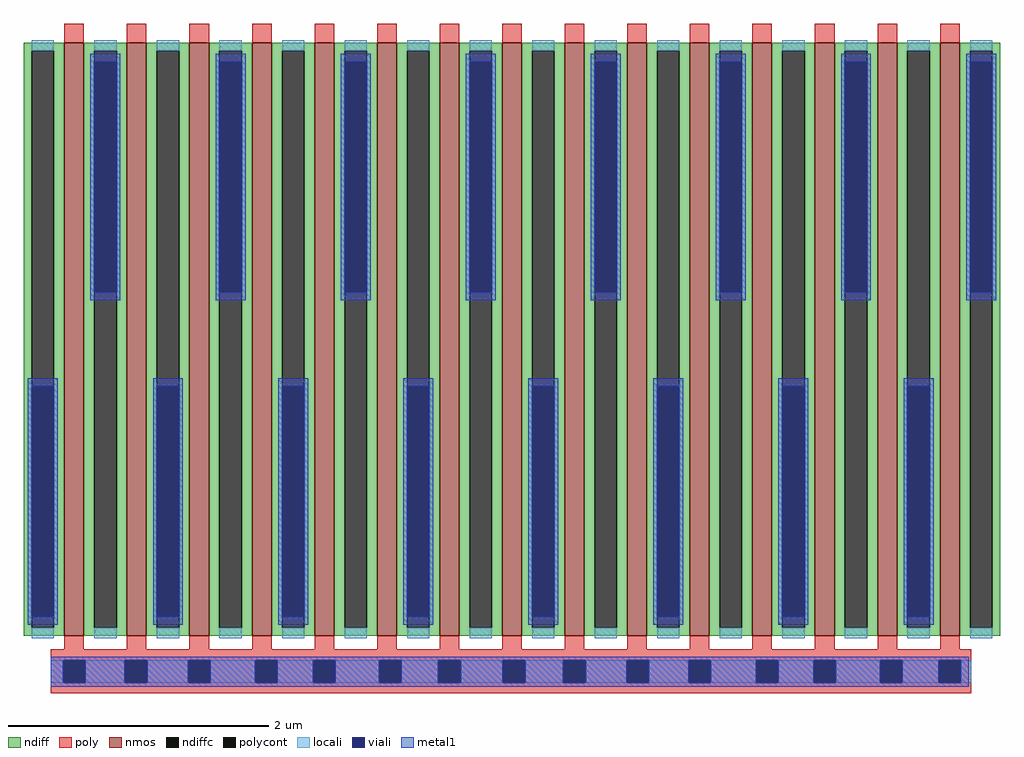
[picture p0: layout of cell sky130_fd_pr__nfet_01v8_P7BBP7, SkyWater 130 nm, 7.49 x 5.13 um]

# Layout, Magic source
magic
tech sky130A
magscale 1 2
<< nmos >>
rect -687 -455 -657 455
rect -591 -455 -561 455
rect -495 -455 -465 455
rect -399 -455 -369 455
rect -303 -455 -273 455
rect -207 -455 -177 455
rect -111 -455 -81 455
rect -15 -455 15 455
rect 81 -455 111 455
rect 177 -455 207 455
rect 273 -455 303 455
rect 369 -455 399 455
rect 465 -455 495 455
rect 561 -455 591 455
rect 657 -455 687 455
<< ndiff >>
rect -749 443 -687 455
rect -749 -443 -737 443
rect -703 -443 -687 443
rect -749 -455 -687 -443
rect -657 443 -591 455
rect -657 -443 -641 443
rect -607 -443 -591 443
rect -657 -455 -591 -443
rect -561 443 -495 455
rect -561 -443 -545 443
rect -511 -443 -495 443
rect -561 -455 -495 -443
rect -465 443 -399 455
rect -465 -443 -449 443
rect -415 -443 -399 443
rect -465 -455 -399 -443
rect -369 443 -303 455
rect -369 -443 -353 443
rect -319 -443 -303 443
rect -369 -455 -303 -443
rect -273 443 -207 455
rect -273 -443 -257 443
rect -223 -443 -207 443
rect -273 -455 -207 -443
rect -177 443 -111 455
rect -177 -443 -161 443
rect -127 -443 -111 443
rect -177 -455 -111 -443
rect -81 443 -15 455
rect -81 -443 -65 443
rect -31 -443 -15 443
rect -81 -455 -15 -443
rect 15 443 81 455
rect 15 -443 31 443
rect 65 -443 81 443
rect 15 -455 81 -443
rect 111 443 177 455
rect 111 -443 127 443
rect 161 -443 177 443
rect 111 -455 177 -443
rect 207 443 273 455
rect 207 -443 223 443
rect 257 -443 273 443
rect 207 -455 273 -443
rect 303 443 369 455
rect 303 -443 319 443
rect 353 -443 369 443
rect 303 -455 369 -443
rect 399 443 465 455
rect 399 -443 415 443
rect 449 -443 465 443
rect 399 -455 465 -443
rect 495 443 561 455
rect 495 -443 511 443
rect 545 -443 561 443
rect 495 -455 561 -443
rect 591 443 657 455
rect 591 -443 607 443
rect 641 -443 657 443
rect 591 -455 657 -443
rect 687 443 749 455
rect 687 -443 703 443
rect 737 -443 749 443
rect 687 -455 749 -443
<< ndiffc >>
rect -737 -443 -703 443
rect -641 -443 -607 443
rect -545 -443 -511 443
rect -449 -443 -415 443
rect -353 -443 -319 443
rect -257 -443 -223 443
rect -161 -443 -127 443
rect -65 -443 -31 443
rect 31 -443 65 443
rect 127 -443 161 443
rect 223 -443 257 443
rect 319 -443 353 443
rect 415 -443 449 443
rect 511 -443 545 443
rect 607 -443 641 443
rect 703 -443 737 443
<< poly >>
rect -687 455 -657 484
rect -591 455 -561 484
rect -495 455 -465 484
rect -399 455 -369 484
rect -303 455 -273 484
rect -207 455 -177 484
rect -111 455 -81 484
rect -15 455 15 484
rect 81 455 111 484
rect 177 455 207 484
rect 273 455 303 484
rect 369 455 399 484
rect 465 455 495 484
rect 561 455 591 484
rect 657 455 687 484
rect -687 -476 -657 -455
rect -591 -476 -561 -455
rect -495 -476 -465 -455
rect -399 -476 -369 -455
rect -303 -476 -273 -455
rect -207 -476 -177 -455
rect -111 -476 -81 -455
rect -15 -476 15 -455
rect 81 -476 111 -455
rect 177 -476 207 -455
rect 273 -476 303 -455
rect 369 -476 399 -455
rect 465 -476 495 -455
rect 561 -476 591 -455
rect 657 -476 687 -455
rect -708 -493 705 -476
rect -708 -527 -689 -493
rect -655 -527 -594 -493
rect -560 -527 -497 -493
rect -463 -527 -394 -493
rect -360 -527 -305 -493
rect -271 -527 -204 -493
rect -170 -527 -113 -493
rect -79 -527 -14 -493
rect 20 -527 79 -493
rect 113 -527 176 -493
rect 210 -527 271 -493
rect 305 -527 375 -493
rect 409 -527 463 -493
rect 497 -527 565 -493
rect 599 -527 655 -493
rect 689 -527 705 -493
rect -708 -543 705 -527
<< polycont >>
rect -689 -527 -655 -493
rect -594 -527 -560 -493
rect -497 -527 -463 -493
rect -394 -527 -360 -493
rect -305 -527 -271 -493
rect -204 -527 -170 -493
rect -113 -527 -79 -493
rect -14 -527 20 -493
rect 79 -527 113 -493
rect 176 -527 210 -493
rect 271 -527 305 -493
rect 375 -527 409 -493
rect 463 -527 497 -493
rect 565 -527 599 -493
rect 655 -527 689 -493
<< locali >>
rect -737 443 -703 459
rect -737 -459 -703 -443
rect -641 443 -607 459
rect -641 -459 -607 -443
rect -545 443 -511 459
rect -545 -459 -511 -443
rect -449 443 -415 459
rect -449 -459 -415 -443
rect -353 443 -319 459
rect -353 -459 -319 -443
rect -257 443 -223 459
rect -257 -459 -223 -443
rect -161 443 -127 459
rect -161 -459 -127 -443
rect -65 443 -31 459
rect -65 -459 -31 -443
rect 31 443 65 459
rect 31 -459 65 -443
rect 127 443 161 459
rect 127 -459 161 -443
rect 223 443 257 459
rect 223 -459 257 -443
rect 319 443 353 459
rect 319 -459 353 -443
rect 415 443 449 459
rect 415 -459 449 -443
rect 511 443 545 459
rect 511 -459 545 -443
rect 607 443 641 459
rect 607 -459 641 -443
rect 703 443 737 459
rect 703 -459 737 -443
rect -708 -527 -689 -493
rect -655 -527 -594 -493
rect -560 -527 -497 -493
rect -463 -527 -394 -493
rect -360 -527 -305 -493
rect -271 -527 -204 -493
rect -170 -527 -113 -493
rect -79 -527 -14 -493
rect 20 -527 79 -493
rect 113 -527 176 -493
rect 210 -527 271 -493
rect 305 -527 375 -493
rect 409 -527 463 -493
rect 497 -527 565 -493
rect 599 -527 655 -493
rect 689 -527 705 -493
<< viali >>
rect -737 -426 -703 -72
rect -641 72 -607 426
rect -545 -426 -511 -72
rect -449 72 -415 426
rect -353 -426 -319 -72
rect -257 72 -223 426
rect -161 -426 -127 -72
rect -65 72 -31 426
rect 31 -426 65 -72
rect 127 72 161 426
rect 223 -426 257 -72
rect 319 72 353 426
rect 415 -426 449 -72
rect 511 72 545 426
rect 607 -426 641 -72
rect 703 72 737 426
rect -689 -527 -655 -493
rect -594 -527 -560 -493
rect -497 -527 -463 -493
rect -394 -527 -360 -493
rect -305 -527 -271 -493
rect -204 -527 -170 -493
rect -113 -527 -79 -493
rect -14 -527 20 -493
rect 79 -527 113 -493
rect 176 -527 210 -493
rect 271 -527 305 -493
rect 375 -527 409 -493
rect 463 -527 497 -493
rect 565 -527 599 -493
rect 655 -527 689 -493
<< metal1 >>
rect -647 426 -601 438
rect -647 72 -641 426
rect -607 72 -601 426
rect -647 60 -601 72
rect -455 426 -409 438
rect -455 72 -449 426
rect -415 72 -409 426
rect -455 60 -409 72
rect -263 426 -217 438
rect -263 72 -257 426
rect -223 72 -217 426
rect -263 60 -217 72
rect -71 426 -25 438
rect -71 72 -65 426
rect -31 72 -25 426
rect -71 60 -25 72
rect 121 426 167 438
rect 121 72 127 426
rect 161 72 167 426
rect 121 60 167 72
rect 313 426 359 438
rect 313 72 319 426
rect 353 72 359 426
rect 313 60 359 72
rect 505 426 551 438
rect 505 72 511 426
rect 545 72 551 426
rect 505 60 551 72
rect 697 426 743 438
rect 697 72 703 426
rect 737 72 743 426
rect 697 60 743 72
rect -743 -72 -697 -60
rect -743 -426 -737 -72
rect -703 -426 -697 -72
rect -743 -438 -697 -426
rect -551 -72 -505 -60
rect -551 -426 -545 -72
rect -511 -426 -505 -72
rect -551 -438 -505 -426
rect -359 -72 -313 -60
rect -359 -426 -353 -72
rect -319 -426 -313 -72
rect -359 -438 -313 -426
rect -167 -72 -121 -60
rect -167 -426 -161 -72
rect -127 -426 -121 -72
rect -167 -438 -121 -426
rect 25 -72 71 -60
rect 25 -426 31 -72
rect 65 -426 71 -72
rect 25 -438 71 -426
rect 217 -72 263 -60
rect 217 -426 223 -72
rect 257 -426 263 -72
rect 217 -438 263 -426
rect 409 -72 455 -60
rect 409 -426 415 -72
rect 449 -426 455 -72
rect 409 -438 455 -426
rect 601 -72 647 -60
rect 601 -426 607 -72
rect 641 -426 647 -72
rect 601 -438 647 -426
rect -708 -493 701 -487
rect -708 -527 -689 -493
rect -655 -527 -594 -493
rect -560 -527 -497 -493
rect -463 -527 -394 -493
rect -360 -527 -305 -493
rect -271 -527 -204 -493
rect -170 -527 -113 -493
rect -79 -527 -14 -493
rect 20 -527 79 -493
rect 113 -527 176 -493
rect 210 -527 271 -493
rect 305 -527 375 -493
rect 409 -527 463 -493
rect 497 -527 565 -493
rect 599 -527 655 -493
rect 689 -527 701 -493
rect -708 -533 701 -527
<< properties >>
string gencell sky130_fd_pr__nfet_01v8
string library sky130
string parameters w 4.55 l 0.15 m 1 nf 15 diffcov 100 polycov 100 guard 0 glc 1 grc 1 gtc 1 gbc 1 tbcov 100 rlcov 100 topc 1 botc 1 poverlap 0 doverlap 1 lmin 0.15 wmin 0.42 compatible {sky130_fd_pr__nfet_01v8 sky130_fd_pr__nfet_01v8_lvt  sky130_fd_bs_flash__special_sonosfet_star  sky130_fd_pr__nfet_g5v0d10v5 sky130_fd_pr__nfet_05v0_nvt  sky130_fd_pr__nfet_03v3_nvt} full_metal 0 viasrc -40 viadrn +40 viagate 100 viagb 0 viagr 0 viagl 0 viagt 0
<< end >>
